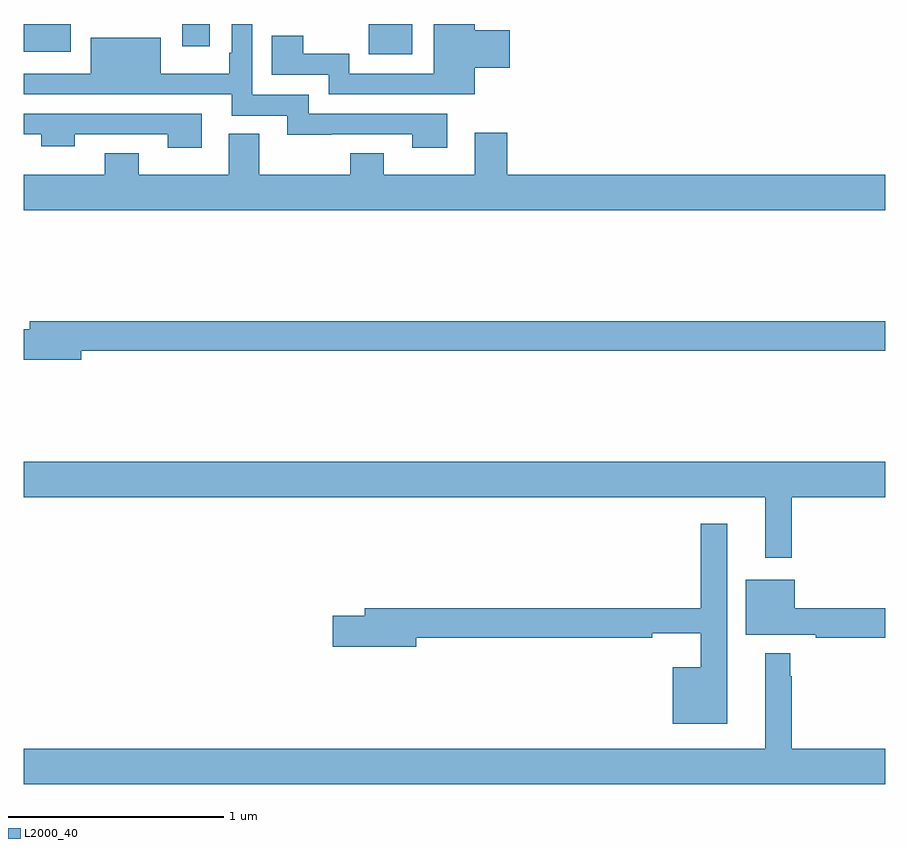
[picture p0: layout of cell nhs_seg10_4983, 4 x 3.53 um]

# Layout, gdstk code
import gdstk
lib = gdstk.Library(unit=1e-6, precision=1e-09)
def R(c, l, rs):  # rectangles x0, y0, x1, y1
    for r in rs: c.add(gdstk.rectangle(r[:2], r[2:], *l))
def P(c, l, *ps):  # polygons
    for p in ps: c.add(gdstk.Polygon(p, *l))
L2000_40 = (2000, 40)

nhs_seg10_4983 = lib.new_cell('nhs_seg10_4983')
R(nhs_seg10_4983, L2000_40, [(400.601,1314.359,400.804,1314.5), (399,1314.371,399.219,1314.5), (399.737,1314.396,399.865,1314.5)])
P(nhs_seg10_4983, L2000_40, [(400.966,1314.084),(400.324,1314.084),(400.324,1314.171),(400.062,1314.171),(400.062,1314.5),(399.966,1314.5),(399.966,1314.367),(399.954,1314.367),(399.954,1314.27),(399.637,1314.27),(399.637,1314.436),(399.311,1314.436),(399.311,1314.27),(399,1314.27),(399,1314.174),(399.965,1314.174),(399.965,1314.075),(400.223,1314.075),(400.223,1313.987),(400.427,1313.987),(400.427,1313.988),(400.805,1313.988),(400.805,1313.925),(400.966,1313.925)],
  [(401.095,1314.298),(401.257,1314.298),(401.257,1314.471),(401.095,1314.471),(401.095,1314.499),(400.904,1314.499),(400.904,1314.27),(400.512,1314.27),(400.512,1314.363),(400.299,1314.363),(400.299,1314.445),(400.151,1314.445),(400.151,1314.264),(400.416,1314.264),(400.416,1314.174),(401.095,1314.174)],
  [(399.826,1314.084),(399,1314.084),(399,1313.988),(399.082,1313.988),(399.082,1313.933),(399.237,1313.933),(399.237,1313.988),(399.67,1313.988),(399.67,1313.925),(399.826,1313.925)],
  [(403,1313.8),(401.246,1313.8),(401.246,1313.995),(401.093,1313.995),(401.093,1313.8),(400.671,1313.8),(400.671,1313.899),(400.516,1313.899),(400.516,1313.8),(400.093,1313.8),(400.093,1313.99),(399.953,1313.99),(399.953,1313.8),(399.534,1313.8),(399.534,1313.899),(399.376,1313.899),(399.376,1313.8),(399,1313.8),(399,1313.636),(403,1313.636)],
  [(399.268,1312.984),(403,1312.984),(403,1313.12),(399.029,1313.12),(399.029,1313.084),(399,1313.084),(399,1312.942),(399.268,1312.942)],
  [(402.565,1312.304),(403,1312.304),(403,1312.468),(399,1312.468),(399,1312.304),(402.443,1312.304),(402.443,1312.023),(402.565,1312.023)],
  [(402.265,1312.18),(402.144,1312.18),(402.144,1311.788),(400.583,1311.788),(400.583,1311.752),(400.434,1311.752),(400.434,1311.61),(400.822,1311.61),(400.822,1311.652),(401.918,1311.652),(401.918,1311.671),(402.144,1311.671),(402.144,1311.514),(402.014,1311.514),(402.014,1311.251),(402.265,1311.251)],
  [(403,1311.788),(402.58,1311.788),(402.58,1311.919),(402.353,1311.919),(402.353,1311.665),(402.676,1311.665),(402.676,1311.652),(403,1311.652)],
  [(403,1311.136),(402.565,1311.136),(402.565,1311.473),(402.558,1311.473),(402.558,1311.58),(402.443,1311.58),(402.443,1311.136),(399,1311.136),(399,1310.972),(403,1310.972)])

lib.write_gds('nhs_seg10_4983.gds')
